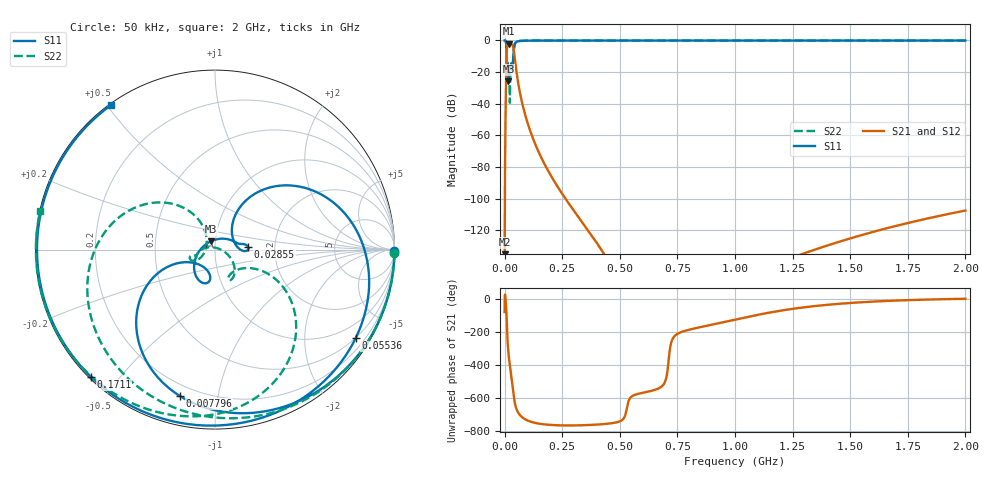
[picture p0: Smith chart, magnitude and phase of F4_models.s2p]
! Created with skrf 2.2.0 (http://scikit-rf.org).
# MHz S RI R 50.0
! Port[1] = P1
! Port[2] = P2
!freq ReS11 ImS11 ReS21 ImS21 ReS12 ImS12 ReS22 ImS22
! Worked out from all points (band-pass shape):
!   2001 points, 50 kHz to 2 GHz, reference 50 ohm
!   highest |S21| = -2.00 dB at 19.39 MHz (marker M1); lowest = -198.2 dB at 50 kHz (marker M2)
!   |S21| within 3 dB of the highest: 9.75 MHz to 38.51 MHz (28.76 MHz wide, 119 % of centre)
!   lowest |S11| = -25.8 dB at 16.63 MHz (marker M3), VSWR 1.11, Z = 47.6 + j4.4 ohm
!   |S11| at or under -10 dB: 9.745 MHz to 37.91 MHz (28.16 MHz wide, 118 % of centre)
!   |S22| runs from -39.4 to 0.0 dB; largest |S21 - S12| = 1e-15
!   S11 on the Smith chart (normalised r, x): 50 kHz: open; 7.796 MHz: 0.14, -0.78; 28.55 MHz: 1.45, +0.04; 55.36 MHz: 0.49, -3.40; 171.1 MHz: 0.01, -0.42; 2 GHz: 0.01, +0.51
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0.05  1 -0.00848  2.05e-11 -1.22e-10  2.05e-11 -1.22e-10  0.9998 -0.0204
0.2934364  0.9987 -0.0498  2.52e-08 -1.98e-08  2.52e-08 -1.98e-08  0.9926 -0.1195
1.712999  0.9553 -0.2889  5e-05 2.3e-05  5e-05 2.3e-05  0.7615 -0.6327
2.01878  0.9376 -0.3397  0.000112 5.05e-05  0.000112 5.05e-05  0.6765 -0.7169
4.398862  0.6813 -0.7084  0.00623 -0.000574  0.00623 -0.000574  -0.1351 -0.9106
7.795637  -0.1953 -0.8158  0.0321 -0.1628  0.0321 -0.1628  -0.6809 -0.0314
10  -0.2176 -0.0782  -0.594 -0.111  -0.594 -0.111  -0.0605 0.1151
10.65645  -0.0684 -0.0941  -0.6498 0.1878  -0.6498 0.1878  -0.0571 -0.0111
12.82769  -0.0912 -0.1697  -0.1593 0.7313  -0.1593 0.7313  -0.1397 -0.0411
16.63025  -0.023 0.0461  0.6529 0.4441  0.6529 0.4441  -0.1039 -0.0425
19.39227  0.0843 0.0545  0.793 -0.0405  0.793 -0.0405  -0.092 -0.0129
22.85392  0.1328 0.033  0.5799 -0.5359  0.5799 -0.5359  0.00283 0.0104
28.54986  0.1853 0.0137  -0.1513 -0.7463  -0.1513 -0.7463  0.1084 -0.1334
34.54944  0.103 0.052  -0.6742 -0.1876  -0.6742 -0.1876  0.1037 -0.1224
39.86289  0.339 0.3533  -0.3337 0.36  -0.3337 0.36  0.4221 -0.2813
46.48349  0.8235 0.0275  0.0451 0.1952  0.0451 0.1952  0.2592 -0.8025
55.36467  0.7834 -0.4939  0.0499 0.0433  0.0499 0.0433  -0.1642 -0.9282
58.68728  0.7089 -0.6177  0.0393 0.025  0.0393 0.025  -0.2738 -0.9154
89.19189  0.0284 -0.9793  0.00446 -0.000651  0.00446 -0.000651  -0.7227 -0.674
171.1402  -0.6918 -0.7082  0.000104 -8.34e-05  0.000104 -8.34e-05  -0.9337 -0.3475
342.5997  -0.9545 -0.2684  1.13e-06 -1.1e-06  1.13e-06 -1.1e-06  -0.9874 -0.1424
2000  -0.5803 0.8043  4.23e-06 -4.97e-08  4.23e-06 -4.97e-08  -0.9736 0.2171
